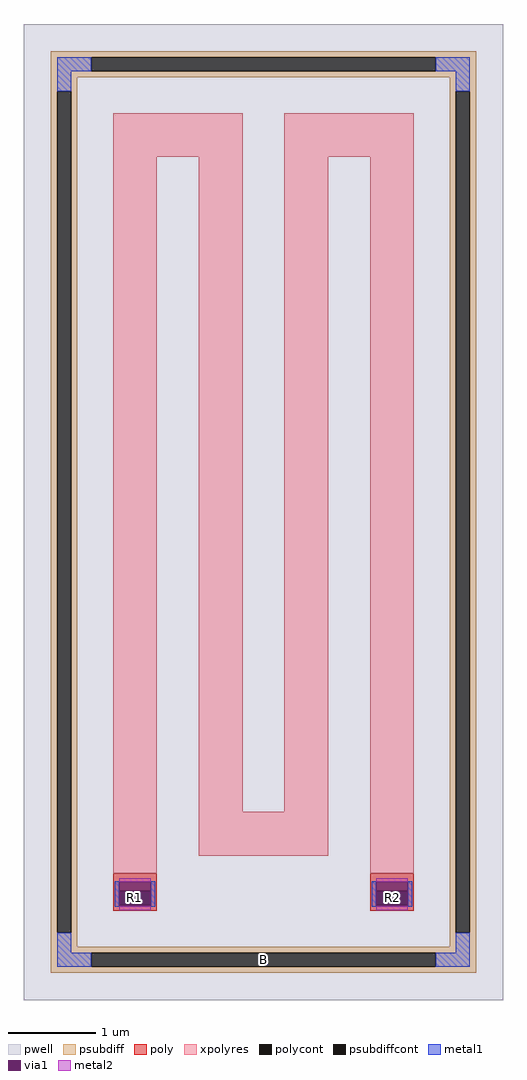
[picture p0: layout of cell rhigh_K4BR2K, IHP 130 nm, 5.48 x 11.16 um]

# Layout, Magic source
magic
tech ihp-sg13g2
magscale 1 2
<< pwell >>
rect -548 -1116 548 1116
<< psubdiff >>
rect -486 1040 486 1054
rect -486 1008 -394 1040
rect 394 1008 486 1040
rect -486 994 486 1008
rect -486 962 -426 994
rect -486 -962 -472 962
rect -440 -962 -426 962
rect 426 962 486 994
rect -486 -994 -426 -962
rect 426 -962 440 962
rect 472 -962 486 962
rect 426 -994 486 -962
rect -486 -1008 486 -994
rect -486 -1040 -394 -1008
rect 394 -1040 486 -1008
rect -486 -1054 486 -1040
<< psubdiffcont >>
rect -394 1008 394 1040
rect -472 -962 -440 962
rect 440 -962 472 962
rect -394 -1040 394 -1008
<< poly >>
rect -344 -866 -244 -826
rect -344 -898 -330 -866
rect -258 -898 -244 -866
rect -344 -912 -244 -898
rect 244 -866 344 -826
rect 244 -898 258 -866
rect 330 -898 344 -866
rect 244 -912 344 -898
<< polycont >>
rect -330 -898 -258 -866
rect 258 -898 330 -866
<< xpolyres >>
rect -344 812 -48 912
rect -344 -826 -244 812
rect -148 -686 -48 812
rect 48 812 344 912
rect 48 -686 148 812
rect -148 -786 148 -686
rect 244 -826 344 812
<< metal1 >>
rect -472 1008 -394 1040
rect 394 1008 472 1040
rect -472 962 -440 1008
rect 440 962 472 1008
rect -340 -846 -248 -845
rect -340 -902 -330 -846
rect -258 -902 -248 -846
rect -340 -903 -248 -902
rect 248 -846 340 -845
rect 248 -902 258 -846
rect 330 -902 340 -846
rect 248 -903 340 -902
rect -472 -1008 -440 -962
rect 440 -1008 472 -962
rect -472 -1040 -394 -1008
rect 394 -1040 472 -1008
<< via1 >>
rect -330 -866 -258 -846
rect -330 -898 -258 -866
rect -330 -902 -258 -898
rect 258 -866 330 -846
rect 258 -898 330 -866
rect 258 -902 330 -898
<< metal2 >>
rect -330 -846 -258 -837
rect -330 -911 -258 -902
rect 258 -846 330 -837
rect 258 -911 330 -902
<< labels >>
rlabel psubdiffcont 0 -1024 0 -1024 0 B
port 1 nsew
rlabel polycont -294 -882 -294 -882 0 R1
port 2 nsew
rlabel polycont 294 -882 294 -882 0 R2
port 3 nsew
<< properties >>
string FIXED_BBOX -456 -1024 456 1024
string gencell rhigh
string library sg13g2
string parameters w 0.50 l 8.489 m 1 nx 4 wmin 0.50 lmin 0.50 class resistor rho 1360 val 96.44k dummy 0 dw 0.0 term 0.0 sterm 0.0 caplen 0 guard 1 glc 1 grc 1 gtc 1 gbc 1 snake 1 full_metal 1 n_guard 0 hv_guard 0 vias 1 viagb 0 viagt 0 viagl 0 viagr 0 doports 1
<< end >>
